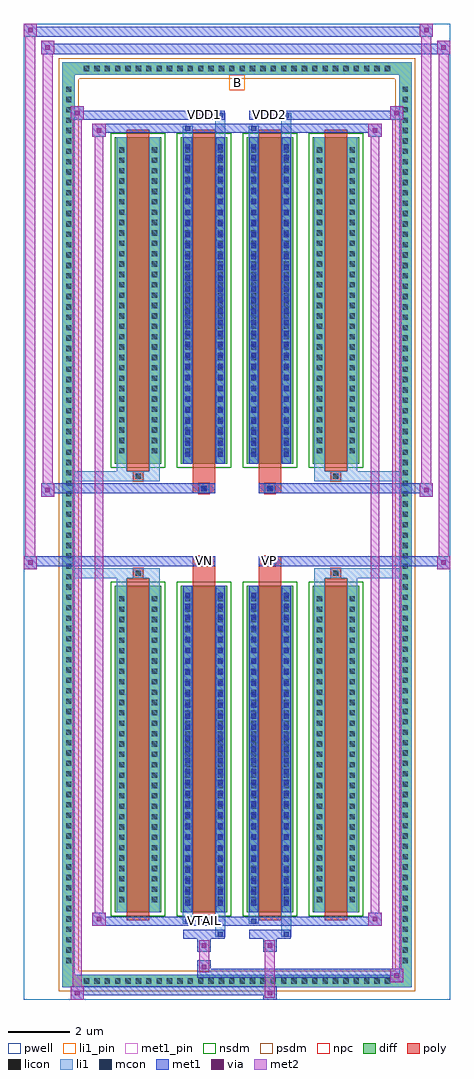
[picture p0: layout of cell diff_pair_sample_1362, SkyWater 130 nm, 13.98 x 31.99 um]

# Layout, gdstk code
import gdstk
lib = gdstk.Library(unit=1e-6, precision=5e-09)
def R(c, l, rs):  # rectangles x0, y0, x1, y1
    for r in rs: c.add(gdstk.rectangle(r[:2], r[2:], *l))
def A(c, l, x, y, w, h, nx, ny, dx, dy):  # array of equal rectangles
    R(c, l, [(x+i*dx, y+j*dy, x+i*dx+w, y+j*dy+h) for i in range(nx) for j in range(ny)])
def P(c, l, *ps):  # polygons
    for p in ps: c.add(gdstk.Polygon(p, *l))
pwell = (64, 44)
diff = (65, 20)
poly = (66, 20)
licon = (66, 44)
li1_pin = (67, 16)
li1 = (67, 20)
mcon = (67, 44)
met1_pin = (68, 16)
met1 = (68, 20)
via = (68, 44)
met2 = (69, 20)
nsdm = (93, 44)
psdm = (94, 20)
npc = (95, 20)

diff_pair_sample_1362 = lib.new_cell('diff_pair_sample_1362')
R(diff_pair_sample_1362, pwell, [(-6.99,-15.56,6.99,16.43), (-4.31,-13.75,-0.01,-0.825), (0.01,-13.75,4.31,-0.825), (-4.31,0.825,-0.01,13.75), (0.01,0.825,4.31,13.75)])
A(diff_pair_sample_1362, diff, -5.135, -15.16, 0.41, 0.41, 30, 2, 0.34, 29.91)
A(diff_pair_sample_1362, diff, -5.72, -14.485, 0.41, 0.41, 1, 85, 0, 0.34)
A(diff_pair_sample_1362, diff, 5.31, -14.485, 0.41, 0.41, 1, 85, 0, 0.34)
A(diff_pair_sample_1362, diff, -4, -12.705, 1.52, 10.7, 4, 2, 2.16, 14.71)
R(diff_pair_sample_1362, diff, [(-5.135,-15.16,5.135,-14.75), (-5.72,-14.485,-5.31,14.485), (5.31,-14.485,5.72,14.485), (-5.135,14.75,5.135,15.16)])
P(diff_pair_sample_1362, diff, [(5.72,15.16),(-5.72,15.16),(-5.72,-14.75),(-5.31,-14.75),(-5.31,14.75),(5.31,14.75),(5.31,-14.75),(-5.31,-14.75),(-5.72,-14.75),(-5.72,-15.16),(5.72,-15.16)])
A(diff_pair_sample_1362, poly, -3.61, -12.955, 0.74, 11.2, 4, 2, 2.16, 14.71)
R(diff_pair_sample_1362, poly, [(-3.405,-1.755,-3.075,-1.425), (-3.405,-1.755,-3.075,-1.425), (-1.45,-1.755,-0.71,-1.355), (0.71,-1.755,1.45,-1.355), (3.075,-1.755,3.405,-1.425), (3.075,-1.755,3.405,-1.425), (-1.45,-1.355,-0.71,-1.025), (-1.245,-1.355,-0.915,-1.025), (0.71,-1.355,1.45,-1.025), (0.915,-1.355,1.245,-1.025), (-1.45,1.025,-0.71,1.355), (-1.245,1.025,-0.915,1.355), (0.71,1.025,1.45,1.355), (0.915,1.025,1.245,1.355), (-1.45,1.355,-0.71,1.755), (0.71,1.355,1.45,1.755), (-3.405,1.425,-3.075,1.755), (-3.405,1.425,-3.075,1.755), (3.075,1.425,3.405,1.755), (3.075,1.425,3.405,1.755)])
A(diff_pair_sample_1362, licon, -5.015, -15.04, 0.17, 0.17, 30, 2, 0.34, 29.91)
A(diff_pair_sample_1362, licon, -5.6, -14.365, 0.17, 0.17, 1, 85, 0, 0.34)
A(diff_pair_sample_1362, licon, 5.43, -14.365, 0.17, 0.17, 1, 85, 0, 0.34)
A(diff_pair_sample_1362, licon, -3.86, -12.37, 0.17, 0.17, 1, 30, 0, 0.34)
A(diff_pair_sample_1362, licon, -2.79, -12.37, 0.17, 0.17, 1, 30, 0, 0.34)
A(diff_pair_sample_1362, licon, -1.7, -12.37, 0.17, 0.17, 1, 30, 0, 0.34)
A(diff_pair_sample_1362, licon, -0.63, -12.37, 0.17, 0.17, 1, 30, 0, 0.34)
A(diff_pair_sample_1362, licon, 0.46, -12.37, 0.17, 0.17, 1, 30, 0, 0.34)
A(diff_pair_sample_1362, licon, 1.53, -12.37, 0.17, 0.17, 1, 30, 0, 0.34)
A(diff_pair_sample_1362, licon, 2.62, -12.37, 0.17, 0.17, 1, 30, 0, 0.34)
A(diff_pair_sample_1362, licon, 3.69, -12.37, 0.17, 0.17, 1, 30, 0, 0.34)
A(diff_pair_sample_1362, licon, -3.86, 2.34, 0.17, 0.17, 1, 30, 0, 0.34)
A(diff_pair_sample_1362, licon, -2.79, 2.34, 0.17, 0.17, 1, 30, 0, 0.34)
A(diff_pair_sample_1362, licon, -1.7, 2.34, 0.17, 0.17, 1, 30, 0, 0.34)
A(diff_pair_sample_1362, licon, -0.63, 2.34, 0.17, 0.17, 1, 30, 0, 0.34)
A(diff_pair_sample_1362, licon, 0.46, 2.34, 0.17, 0.17, 1, 30, 0, 0.34)
A(diff_pair_sample_1362, licon, 1.53, 2.34, 0.17, 0.17, 1, 30, 0, 0.34)
A(diff_pair_sample_1362, licon, 2.62, 2.34, 0.17, 0.17, 1, 30, 0, 0.34)
A(diff_pair_sample_1362, licon, 3.69, 2.34, 0.17, 0.17, 1, 30, 0, 0.34)
R(diff_pair_sample_1362, licon, [(-3.325,-1.675,-3.155,-1.505), (3.155,-1.675,3.325,-1.505), (-1.165,-1.275,-0.995,-1.105), (0.995,-1.275,1.165,-1.105), (-1.165,1.105,-0.995,1.275), (0.995,1.105,1.165,1.275), (-3.325,1.505,-3.155,1.675), (3.155,1.505,3.325,1.675)])
R(diff_pair_sample_1362, li1_pin, [(-0.25,14.25,0.25,14.75)])
A(diff_pair_sample_1362, li1, -5.095, -15.12, 0.33, 0.33, 30, 2, 0.34, 29.91)
A(diff_pair_sample_1362, li1, -5.68, -14.445, 0.33, 0.33, 1, 85, 0, 0.34)
A(diff_pair_sample_1362, li1, 5.35, -14.445, 0.33, 0.33, 1, 85, 0, 0.34)
A(diff_pair_sample_1362, li1, -1.7, -12.48, 0.17, 0.17, 1, 29, 0, 0.36)
A(diff_pair_sample_1362, li1, -0.63, -12.48, 0.17, 0.17, 1, 29, 0, 0.36)
A(diff_pair_sample_1362, li1, 0.46, -12.48, 0.17, 0.17, 1, 29, 0, 0.36)
A(diff_pair_sample_1362, li1, 1.53, -12.48, 0.17, 0.17, 1, 29, 0, 0.36)
A(diff_pair_sample_1362, li1, -3.94, -12.45, 0.33, 0.33, 1, 30, 0, 0.34)
A(diff_pair_sample_1362, li1, -2.87, -12.45, 0.33, 0.33, 1, 30, 0, 0.34)
A(diff_pair_sample_1362, li1, -1.78, -12.45, 0.33, 0.33, 1, 30, 0, 0.34)
A(diff_pair_sample_1362, li1, -0.71, -12.45, 0.33, 0.33, 1, 30, 0, 0.34)
A(diff_pair_sample_1362, li1, 0.38, -12.45, 0.33, 0.33, 1, 30, 0, 0.34)
A(diff_pair_sample_1362, li1, 1.45, -12.45, 0.33, 0.33, 1, 30, 0, 0.34)
A(diff_pair_sample_1362, li1, 2.54, -12.45, 0.33, 0.33, 1, 30, 0, 0.34)
A(diff_pair_sample_1362, li1, 3.61, -12.45, 0.33, 0.33, 1, 30, 0, 0.34)
A(diff_pair_sample_1362, li1, -1.7, 2.23, 0.17, 0.17, 1, 29, 0, 0.36)
A(diff_pair_sample_1362, li1, -0.63, 2.23, 0.17, 0.17, 1, 29, 0, 0.36)
A(diff_pair_sample_1362, li1, 0.46, 2.23, 0.17, 0.17, 1, 29, 0, 0.36)
A(diff_pair_sample_1362, li1, 1.53, 2.23, 0.17, 0.17, 1, 29, 0, 0.36)
A(diff_pair_sample_1362, li1, -3.94, 2.26, 0.33, 0.33, 1, 30, 0, 0.34)
A(diff_pair_sample_1362, li1, -2.87, 2.26, 0.33, 0.33, 1, 30, 0, 0.34)
A(diff_pair_sample_1362, li1, -1.78, 2.26, 0.33, 0.33, 1, 30, 0, 0.34)
A(diff_pair_sample_1362, li1, -0.71, 2.26, 0.33, 0.33, 1, 30, 0, 0.34)
A(diff_pair_sample_1362, li1, 0.38, 2.26, 0.33, 0.33, 1, 30, 0, 0.34)
A(diff_pair_sample_1362, li1, 1.45, 2.26, 0.33, 0.33, 1, 30, 0, 0.34)
A(diff_pair_sample_1362, li1, 2.54, 2.26, 0.33, 0.33, 1, 30, 0, 0.34)
A(diff_pair_sample_1362, li1, 3.61, 2.26, 0.33, 0.33, 1, 30, 0, 0.34)
R(diff_pair_sample_1362, li1, [(-5.72,-15.16,-5.31,-14.75), (-5.72,-15.16,-5.31,-14.75), (-5.31,-15.16,5.31,-14.75), (5.31,-15.16,5.72,-14.75), (5.31,-15.16,5.72,-14.75), (-5.72,-14.75,-5.31,14.75), (5.31,-14.75,5.72,14.75), (-0.71,-13.51,-0.38,-12.705), (-0.63,-13.51,-0.46,-13.34), (1.45,-13.51,1.78,-12.705), (1.53,-13.51,1.7,-13.34), (-1.78,-13.08,-1.45,-12.705), (-1.7,-13.08,-1.53,-12.91), (0.38,-13.08,0.71,-12.705), (0.46,-13.08,0.63,-12.91), (-3.94,-12.705,-3.61,-2.005), (-2.87,-12.705,-2.54,-2.005), (-1.78,-12.705,-1.45,-2.005), (-0.71,-12.705,-0.38,-2.005), (0.38,-12.705,0.71,-2.005), (1.45,-12.705,1.78,-2.005), (2.54,-12.705,2.87,-2.005), (3.61,-12.705,3.94,-2.005), (-1.7,-12.48,-1.53,-2.23), (-0.63,-12.48,-0.46,-2.23), (0.46,-12.48,0.63,-2.23), (1.53,-12.48,1.7,-2.23), (-3.94,-2.005,-3.61,-1.425), (-2.87,-2.005,-2.54,-1.425), (2.54,-2.005,2.87,-1.425), (3.61,-2.005,3.94,-1.425), (-5.72,-1.755,-3.405,-1.425), (-3.94,-1.755,-3.405,-1.425), (-3.405,-1.755,-3.075,-1.425), (-3.075,-1.755,-2.54,-1.425), (2.54,-1.755,3.075,-1.425), (3.075,-1.755,3.405,-1.425), (3.075,-1.755,5.72,-1.425), (3.405,-1.755,3.94,-1.425), (-1.245,-1.355,-0.915,-1.025), (0.915,-1.355,1.245,-1.025), (-1.245,1.025,-0.915,1.355), (0.915,1.025,1.245,1.355), (-5.72,1.425,-3.405,1.755), (-3.94,1.425,-3.405,1.755), (-3.94,1.425,-3.61,2.005), (-3.405,1.425,-3.075,1.755), (-3.075,1.425,-2.54,1.755), (-2.87,1.425,-2.54,2.005), (2.54,1.425,3.075,1.755), (2.54,1.425,2.87,2.005), (3.075,1.425,3.405,1.755), (3.075,1.425,5.72,1.755), (3.405,1.425,3.94,1.755), (3.61,1.425,3.94,2.005), (-3.94,2.005,-3.61,12.705), (-2.87,2.005,-2.54,12.705), (-1.78,2.005,-1.45,12.705), (-0.71,2.005,-0.38,12.705), (0.38,2.005,0.71,12.705), (1.45,2.005,1.78,12.705), (2.54,2.005,2.87,12.705), (3.61,2.005,3.94,12.705), (-1.7,2.23,-1.53,12.48), (-0.63,2.23,-0.46,12.48), (0.46,2.23,0.63,12.48), (1.53,2.23,1.7,12.48), (-1.78,12.705,-1.45,13.08), (-0.71,12.705,-0.38,13.51), (0.38,12.705,0.71,13.08), (1.45,12.705,1.78,13.51), (-1.7,12.91,-1.53,13.08), (0.46,12.91,0.63,13.08), (-0.63,13.34,-0.46,13.51), (1.53,13.34,1.7,13.51), (-5.72,14.75,-5.31,15.16), (-5.72,14.75,-5.31,15.16), (-5.31,14.75,5.31,15.16), (5.31,14.75,5.72,15.16), (5.31,14.75,5.72,15.16)])
A(diff_pair_sample_1362, mcon, -1.7, -12.48, 0.17, 0.17, 1, 29, 0, 0.36)
A(diff_pair_sample_1362, mcon, -0.63, -12.48, 0.17, 0.17, 1, 29, 0, 0.36)
A(diff_pair_sample_1362, mcon, 0.46, -12.48, 0.17, 0.17, 1, 29, 0, 0.36)
A(diff_pair_sample_1362, mcon, 1.53, -12.48, 0.17, 0.17, 1, 29, 0, 0.36)
A(diff_pair_sample_1362, mcon, -1.7, 2.23, 0.17, 0.17, 1, 29, 0, 0.36)
A(diff_pair_sample_1362, mcon, -0.63, 2.23, 0.17, 0.17, 1, 29, 0, 0.36)
A(diff_pair_sample_1362, mcon, 0.46, 2.23, 0.17, 0.17, 1, 29, 0, 0.36)
A(diff_pair_sample_1362, mcon, 1.53, 2.23, 0.17, 0.17, 1, 29, 0, 0.36)
R(diff_pair_sample_1362, mcon, [(-0.63,-13.51,-0.46,-13.34), (1.53,-13.51,1.7,-13.34), (-1.7,-13.08,-1.53,-12.91), (0.46,-13.08,0.63,-12.91), (-1.165,-1.275,-0.995,-1.105), (0.995,-1.275,1.165,-1.105), (-1.165,1.105,-0.995,1.275), (0.995,1.105,1.165,1.275), (-1.7,12.91,-1.53,13.08), (0.46,12.91,0.63,13.08), (-0.63,13.34,-0.46,13.51), (1.53,13.34,1.7,13.51)])
R(diff_pair_sample_1362, met1_pin, [(-1.215,-13.12,-0.945,-12.85), (-1.215,-1.295,-0.945,-1.025), (0.945,-1.295,1.215,-1.025), (-1.215,13.3,-0.945,13.57), (0.945,13.3,1.215,13.57)])
A(diff_pair_sample_1362, met1, -1.76, -12.54, 0.29, 0.29, 1, 29, 0, 0.36)
A(diff_pair_sample_1362, met1, -0.69, -12.54, 0.29, 0.29, 1, 29, 0, 0.36)
A(diff_pair_sample_1362, met1, 0.4, -12.54, 0.29, 0.29, 1, 29, 0, 0.36)
A(diff_pair_sample_1362, met1, 1.47, -12.54, 0.29, 0.29, 1, 29, 0, 0.36)
A(diff_pair_sample_1362, met1, -1.76, 2.17, 0.29, 0.29, 1, 29, 0, 0.36)
A(diff_pair_sample_1362, met1, -0.69, 2.17, 0.29, 0.29, 1, 29, 0, 0.36)
A(diff_pair_sample_1362, met1, 0.4, 2.17, 0.29, 0.29, 1, 29, 0, 0.36)
A(diff_pair_sample_1362, met1, 1.47, 2.17, 0.29, 0.29, 1, 29, 0, 0.36)
R(diff_pair_sample_1362, met1, [(-5.45,-15.56,-5.02,-15.13), (0.865,-15.56,1.295,-15.13), (-5.45,-15.42,1.295,-15.13), (5.02,-14.99,5.45,-14.56), (-1.295,-14.85,5.45,-14.56), (-1.295,-14.71,-0.865,-14.28), (-1.295,-14,-0.865,-13.57), (0.865,-14,1.295,-13.57), (-1.76,-13.57,-0.4,-13.28), (-0.69,-13.57,-0.4,-13.28), (0.4,-13.57,1.76,-13.28), (1.47,-13.57,1.76,-13.28), (-4.74,-13.14,-4.31,-12.71), (-4.74,-13.14,-1.76,-12.85), (-1.76,-13.14,-1.47,-12.85), (-1.76,-13.14,-0.4,-12.85), (-0.4,-13.14,0.4,-12.85), (0.4,-13.14,0.69,-12.85), (0.4,-13.14,1.76,-12.85), (1.76,-13.14,4.74,-12.85), (4.31,-13.14,4.74,-12.71), (-1.76,-12.705,-1.47,-2.005), (-0.69,-12.705,-0.4,-2.005), (0.4,-12.705,0.69,-2.005), (1.47,-12.705,1.76,-2.005), (-6.99,-1.455,-6.56,-1.025), (6.56,-1.455,6.99,-1.025), (-6.99,-1.355,-0.71,-1.025), (-1.45,-1.355,-0.71,-1.025), (0.71,-1.355,1.45,-1.025), (0.71,-1.355,6.99,-1.025), (-1.225,-1.335,-0.935,-1.045), (0.935,-1.335,1.225,-1.045), (-6.42,0.925,-5.99,1.355), (5.99,0.925,6.42,1.355), (-6.42,1.025,-1.45,1.355), (-1.45,1.025,-0.71,1.355), (0.71,1.025,1.45,1.355), (1.45,1.025,6.42,1.355), (-1.225,1.045,-0.935,1.335), (0.935,1.045,1.225,1.335), (-1.76,2.005,-1.47,12.705), (-0.69,2.005,-0.4,12.705), (0.4,2.005,0.69,12.705), (1.47,2.005,1.76,12.705), (-4.74,12.71,-4.31,13.14), (4.31,12.71,4.74,13.14), (-4.74,12.85,-1.76,13.14), (-1.76,12.85,-1.47,13.14), (-1.76,12.85,-0.4,13.14), (-0.4,12.85,0.4,13.14), (0.4,12.85,0.69,13.14), (0.4,12.85,1.76,13.14), (1.76,12.85,4.74,13.14), (-5.45,13.28,-5.02,13.71), (-5.45,13.28,-1.76,13.57), (-1.76,13.28,-0.4,13.57), (-0.69,13.28,-0.4,13.57), (0.4,13.28,1.76,13.57), (1.47,13.28,1.76,13.57), (1.76,13.28,5.45,13.57), (5.02,13.28,5.45,13.71), (-6.42,15.43,-5.99,15.86), (-6.42,15.43,-4.31,15.76), (-4.31,15.43,4.31,15.76), (4.31,15.43,6.99,15.76), (6.56,15.43,6.99,15.86), (-6.99,16,-6.56,16.43), (-6.99,16,-4.31,16.33), (-4.31,16,4.31,16.33), (4.31,16,6.42,16.33), (5.99,16,6.42,16.43)])
R(diff_pair_sample_1362, via, [(-5.31,-15.42,-5.16,-15.27), (1.005,-15.42,1.155,-15.27), (5.16,-14.85,5.31,-14.7), (-1.155,-14.57,-1.005,-14.42), (-1.155,-13.86,-1.005,-13.71), (1.005,-13.86,1.155,-13.71), (-4.6,-13,-4.45,-12.85), (4.45,-13,4.6,-12.85), (-6.85,-1.315,-6.7,-1.165), (6.7,-1.315,6.85,-1.165), (-6.28,1.065,-6.13,1.215), (6.13,1.065,6.28,1.215), (-4.6,12.85,-4.45,13), (4.45,12.85,4.6,13), (-5.31,13.42,-5.16,13.57), (5.16,13.42,5.31,13.57), (-6.28,15.57,-6.13,15.72), (6.7,15.57,6.85,15.72), (-6.85,16.14,-6.7,16.29), (6.13,16.14,6.28,16.29)])
R(diff_pair_sample_1362, met2, [(-5.45,-15.56,-5.02,-15.13), (-5.38,-15.56,-5.09,13.71), (-5.09,-15.56,-5.02,-15.13), (-5.4,-15.51,-5.07,-15.18), (0.915,-15.51,1.245,-15.18), (0.915,-15.18,1.245,-13.95), (5.02,-14.99,5.45,-14.56), (5.09,-14.99,5.38,13.71), (5.38,-14.99,5.45,-14.56), (5.07,-14.94,5.4,-14.61), (-1.245,-14.66,-0.915,-14.33), (-1.245,-14.33,-0.915,-13.95), (-1.245,-13.95,-0.915,-13.62), (0.915,-13.95,1.245,-13.62), (-4.74,-13.14,-4.31,-12.71), (-4.67,-13.14,-4.38,13.14), (-4.38,-13.14,-4.31,-12.71), (4.31,-13.14,4.74,-12.71), (4.38,-13.14,4.67,13.14), (4.67,-13.14,4.74,-12.71), (-4.69,-13.09,-4.36,-12.76), (4.36,-13.09,4.69,-12.76), (-6.99,-1.455,-6.56,-1.025), (-6.94,-1.455,-6.61,16.43), (-6.61,-1.455,-6.56,-1.025), (6.56,-1.455,6.99,-1.025), (6.61,-1.455,6.94,15.86), (6.94,-1.455,6.99,-1.025), (-6.94,-1.405,-6.61,-1.075), (6.61,-1.405,6.94,-1.075), (-6.42,0.925,-5.99,1.355), (-6.37,0.925,-6.04,15.86), (-6.04,0.925,-5.99,1.355), (5.99,0.925,6.42,1.355), (6.04,0.925,6.37,16.43), (6.37,0.925,6.42,1.355), (-6.37,0.975,-6.04,1.305), (6.04,0.975,6.37,1.305), (-4.74,12.71,-4.31,13.14), (-4.38,12.71,-4.31,13.14), (4.31,12.71,4.74,13.14), (4.67,12.71,4.74,13.14), (-4.69,12.76,-4.36,13.09), (4.36,12.76,4.69,13.09), (-5.45,13.28,-5.02,13.71), (-5.09,13.28,-5.02,13.71), (5.02,13.28,5.45,13.71), (5.38,13.28,5.45,13.71), (-5.4,13.33,-5.07,13.66), (5.07,13.33,5.4,13.66), (-6.42,15.43,-5.99,15.86), (-6.04,15.43,-5.99,15.86), (6.56,15.43,6.99,15.86), (6.94,15.43,6.99,15.86), (-6.37,15.48,-6.04,15.81), (6.61,15.48,6.94,15.81), (-6.99,16,-6.56,16.43), (-6.61,16,-6.56,16.43), (5.99,16,6.42,16.43), (6.37,16,6.42,16.43), (-6.94,16.05,-6.61,16.38), (6.04,16.05,6.37,16.38)])
A(diff_pair_sample_1362, nsdm, -4.13, -12.835, 1.78, 10.96, 4, 2, 2.16, 14.71)
P(diff_pair_sample_1362, psdm, [(5.85,15.29),(-5.85,15.29),(-5.85,-14.62),(-5.18,-14.62),(-5.18,14.62),(5.18,14.62),(5.18,-14.62),(-5.18,-14.62),(-5.85,-14.62),(-5.85,-15.29),(5.85,-15.29)])
R(diff_pair_sample_1362, npc, [(-3.425,-1.775,-3.055,-1.405), (3.055,-1.775,3.425,-1.405), (-1.265,-1.375,-0.895,-1.005), (0.895,-1.375,1.265,-1.005), (-1.265,1.005,-0.895,1.375), (0.895,1.005,1.265,1.375), (-3.425,1.405,-3.055,1.775), (3.055,1.405,3.425,1.775)])
diff_pair_sample_1362.add(gdstk.Label('VTAIL', (-1.08,-12.985), layer=68, texttype=5))
diff_pair_sample_1362.add(gdstk.Label('VN', (-1.08,-1.16), layer=68, texttype=5))
diff_pair_sample_1362.add(gdstk.Label('VP', (1.08,-1.16), layer=68, texttype=5))
diff_pair_sample_1362.add(gdstk.Label('B', (0,14.5), layer=67, texttype=5))
diff_pair_sample_1362.add(gdstk.Label('VDD2', (1.08,13.435), layer=68, texttype=5))
diff_pair_sample_1362.add(gdstk.Label('VDD1', (-1.08,13.435), layer=68, texttype=5))

lib.write_gds('diff_pair_sample_1362.gds')
